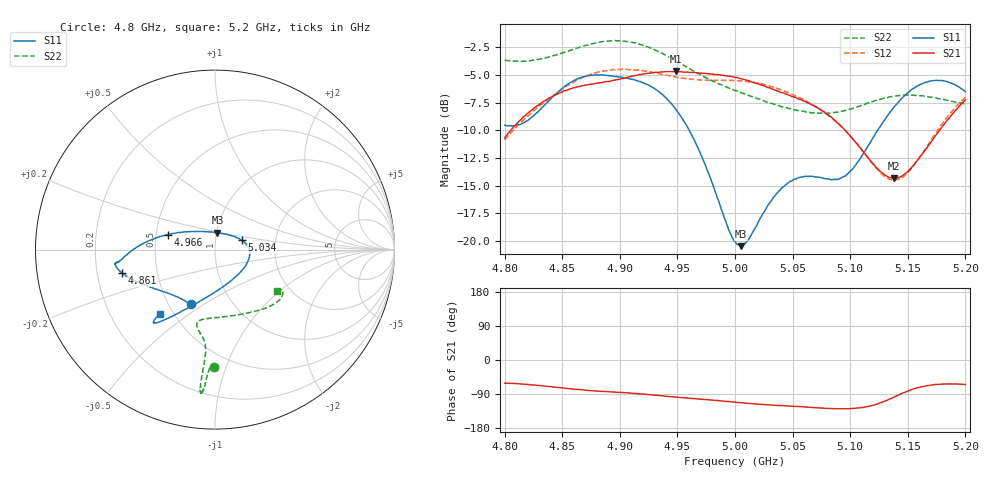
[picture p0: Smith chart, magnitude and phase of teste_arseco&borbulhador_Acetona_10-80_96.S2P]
! Network Analyzer HP8722D
! Hewlett-Packard
! Data name: Linha & Wilkinson
! Saver's name: Rodrigo Anjos
! Comments: Teste da utilização de aquisição
! continua pelo VNA HP8722D
! Time and date: 17/4/2025 15:09
!  Frequency  S11  S21  S12  S22
# HZ  S  MA R 50
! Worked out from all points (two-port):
!   401 points, 4.8 GHz to 5.2 GHz, reference 50 ohm
!   highest |S21| = -4.69 dB at 4.949 GHz (marker M1); lowest = -14.3 dB at 5.138 GHz (marker M2)
!   |S21| within 3 dB of the highest: 4.83 GHz to 5.066 GHz (236.7 MHz wide, 4.78 % of centre); 5.195891 GHz to end of sweep
!   lowest |S11| = -20.5 dB at 5.005 GHz (marker M3), VSWR 1.21, Z = 50.5 + j9.53 ohm
!   |S11| at or under -10 dB: 4.96 GHz to 5.124 GHz (163.6 MHz wide, 3.24 % of centre)
!   |S22| runs from -8.5 to -1.9 dB; largest |S21 - S12| = 0.87
!   S11 on the Smith chart (normalised r, x): 4.8 GHz: 0.64, -0.44; 4.861 GHz: 0.31, -0.11; 4.966 GHz: 0.58, +0.10; 5.034 GHz: 1.34, +0.14; 5.2 GHz: 0.42, -0.39
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4.8e9  0.3336 -113.8  0.2918 -61.0  0.2859 -175.2  0.6559 -90.3
4.819e9  0.3483 -133.7  0.3726 -64.3  0.3617 -173.9  0.6509 -91.8
4.861e9  0.5336 -165.7  0.492 -77.3  0.5263 -177.1  0.7384 -94.1
4.867e9  0.5491 -168.1  0.5027 -79.0  0.5444 -178.1  0.7563 -94.3
4.9e9  0.5497 -172.6  0.5383 -85.5  0.596 175.4  0.8008 -95.6
4.934e9  0.4722 -178.5  0.5779 -93.8  0.5707 171.5  0.7145 -96.0
4.949e9  0.3912 174.3  0.5829 -97.7  0.5501 171.9  0.6512 -95.6
4.966e9  0.2761 162.5  0.5754 -102.2  0.5348 173.5  0.5781 -95.2
5e9  0.09952 100.1  0.5474 -111.4  0.5313 175.8  0.4782 -99.3
5.005e9  0.09456 81.6  0.541 -112.6  0.528 175.9  0.4674 -100.5
5.012e9  0.1018 58.9  0.5285 -114.6  0.5236 175.6  0.4541 -102.0
5.034e9  0.1584 19.4  0.4816 -119.4  0.4947 174.7  0.4146 -103.6
5.05e9  0.1878 3.3  0.4487 -122.1  0.4578 173.9  0.3933 -99.3
5.067e9  0.1958 -15.1  0.4117 -125.1  0.4142 173.6  0.3792 -90.4
5.086e9  0.1896 -45.2  0.3524 -128.4  0.3514 173.4  0.3801 -76.0
5.097e9  0.1989 -67.7  0.31 -128.8  0.3102 174.6  0.39 -67.0
5.134e9  0.3779 -117.1  0.1937 -103.5  0.19 -156.4  0.4471 -43.0
5.138e9  0.4026 -119.3  0.1917 -98.0  0.1881 -149.9  0.4502 -41.2
5.15e9  0.4676 -124.7  0.2062 -82.1  0.2031 -131.6  0.4556 -36.8
5.17e9  0.5284 -129.3  0.2789 -66.3  0.2838 -112.3  0.4465 -32.1
5.184e9  0.5246 -130.6  0.3501 -63.2  0.3618 -107.5  0.4322 -31.1
5.2e9  0.4723 -130.8  0.4339 -64.8  0.4461 -106.8  0.4154 -33.5
